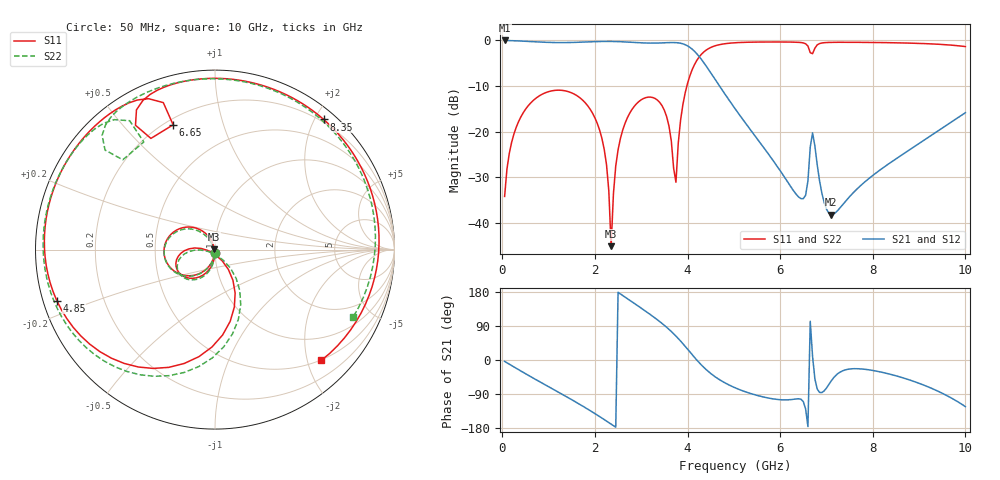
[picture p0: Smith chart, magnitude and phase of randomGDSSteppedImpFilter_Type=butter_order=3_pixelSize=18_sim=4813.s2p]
! freq	dB(S11)	phase(S11)	dB(S12)	phase(S12)
!  dB(S21)	phase(S21)	dB(S22)	phase(S22)
!S-par simulation data
#  GHz  S  DB  R 50
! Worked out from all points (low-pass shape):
!   200 points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, 50 MHz to 10 GHz, reference 50 ohm
!   highest |S21| = -0.01 dB at 50 MHz (marker M1); lowest = -38.2 dB at 7.1 GHz (marker M2)
!   |S21| within 3 dB of the highest: start of sweep to 4.207 GHz
!   lowest |S11| = -45.1 dB at 2.35 GHz (marker M3), VSWR 1.01, Z = 49.5 + j0.123 ohm
!   |S11| at or under -10 dB: start of sweep to 3.986 GHz
!   |S22| runs from -41.2 to -0.3 dB; largest |S21 - S12| = 0
!   S11 on the Smith chart (normalised r, x): 50 MHz: 1.00, -0.04; 4.85 GHz: 0.04, -0.16; 6.65 GHz: 0.23, +0.69; 8.35 GHz: 0.16, +2.13; 10 GHz: 0.49, -2.26
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0.05  -34.23 -93.4  -0.01 -3.7  -0.01 -3.7  -34.23 -93.3
0.2  -22.42 -105.0  -0.05 -14.6  -0.05 -14.6  -22.42 -104.6
0.55  -14.45 -130.4  -0.21 -39.6  -0.21 -39.6  -14.45 -129.5
1.75  -13.25 145.9  -0.37 -122.7  -0.37 -122.7  -13.25 149.4
2.2  -23.84 113.2  -0.22 -157.1  -0.22 -157.1  -23.81 120.4
2.35  -45.14 167.0  -0.22 -169.2  -0.22 -169.2  -41.22 -175.5
2.45  -27.54 -94.0  -0.24 -177.3  -0.24 -177.3  -27.38 -95.8
2.6  -19.68 -103.8  -0.30 170.3  -0.30 170.3  -19.64 -101.9
3.4  -13.61 -169.5  -0.56 101.3  -0.56 101.3  -13.60 -164.1
3.75  -31.12 -87.7  -0.49 63.1  -0.49 63.1  -30.77 -82.5
3.85  -17.49 -56.0  -0.62 50.0  -0.62 50.0  -17.44 -50.2
4.05  -7.78 -78.0  -1.52 21.4  -1.52 21.4  -7.76 -71.4
4.35  -2.54 -117.5  -4.86 -19.4  -4.86 -19.4  -2.53 -110.0
4.85  -0.67 -162.2  -12.40 -63.1  -12.40 -63.1  -0.66 -153.3
5.05  -0.50 -174.6  -15.31 -74.5  -15.31 -74.5  -0.49 -165.2
6.45  -0.47 120.3  -34.71 -103.7  -34.71 -103.7  -0.47 134.2
6.65  -2.69 108.5  -23.39 102.2  -23.39 102.2  -2.87 123.5
6.7  -2.91 120.0  -20.27 9.5  -20.27 9.5  -2.89 135.8
7.1  -0.43 102.9  -38.22 -55.8  -38.22 -55.8  -0.42 119.2
8.35  -0.49 50.1  -27.03 -36.8  -27.03 -36.8  -0.49 70.6
9.3  -0.78 2.1  -20.61 -76.3  -20.61 -76.3  -0.76 23.8
10  -1.35 -46.2  -15.86 -123.0  -15.86 -123.0  -1.35 -26.2
